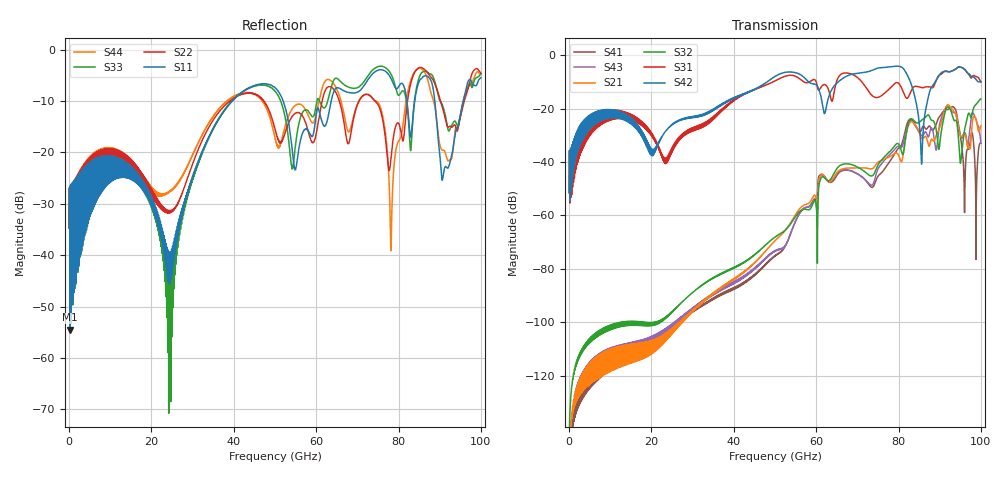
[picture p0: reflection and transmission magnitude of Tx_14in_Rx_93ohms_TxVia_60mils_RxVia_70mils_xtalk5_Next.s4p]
! Info: Touchstone file created by Circ.  Input file=Tx_14in_Rx_93ohms_TxVia_60mils_RxVia_70mils.circ
# Hz S RI R 50
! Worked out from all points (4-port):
!   10000 points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, 10 MHz to 100 GHz, reference 50 ohm
!   strongest paths, dB at 10 MHz, 25.01 GHz, 50.01 GHz, 75.01 GHz, 100 GHz:
!     S42: -51.5, -26.1, -8.0, -4.8, -10.0
!     S31: -51.5, -35.2, -9.6, -15.8, -10.1
!     S32: -156.9, -96.0, -68.1, -41.1, -16.4
!     S21: -167.8, -102.9, -69.4, -40.1, -26.6
!     S43: -158.1, -101.5, -73.1, -42.7, -32.9
!     S41: -158.5, -101.2, -75.0, -45.4, -32.9
!   lowest |S11| = -54.5 dB at 230 MHz (marker M1), VSWR 1.00, Z = 49.9 + j0.124 ohm
!   |S11| at or under -10 dB: start of sweep to 39.61 GHz; 52.01 GHz to 63.66 GHz (11.65 GHz wide, 20.1 % of centre); 88.81 GHz to 95.74 GHz (6.922 GHz wide, 7.5 % of centre) (the widest 3 of 4)
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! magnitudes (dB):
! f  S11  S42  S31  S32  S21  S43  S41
! 10 MHz  -34.7  -51.5  -51.5  -156.9  -167.8  -158.1  -158.5
! 230 MHz  -54.5  -44.1  -44.1  -132.9  -143.4  -143.3  -147.1
! 24.45 GHz  -39.5  -26.7  -38.0  -97.0  -103.5  -101.6  -101.6
! 39.98 GHz  -9.7  -15.9  -16.7  -79.8  -84.1  -85.6  -87.7
! 78.18 GHz  -5.6  -4.3  -12.0  -35.6  -37.8  -36.8  -39.1
! 85.58 GHz  -5.6  -40.7  -12.1  -24.4  -31.1  -30.1  -27.8
! 100 GHz  -5.4  -10.0  -10.1  -16.4  -26.6  -32.9  -32.9
